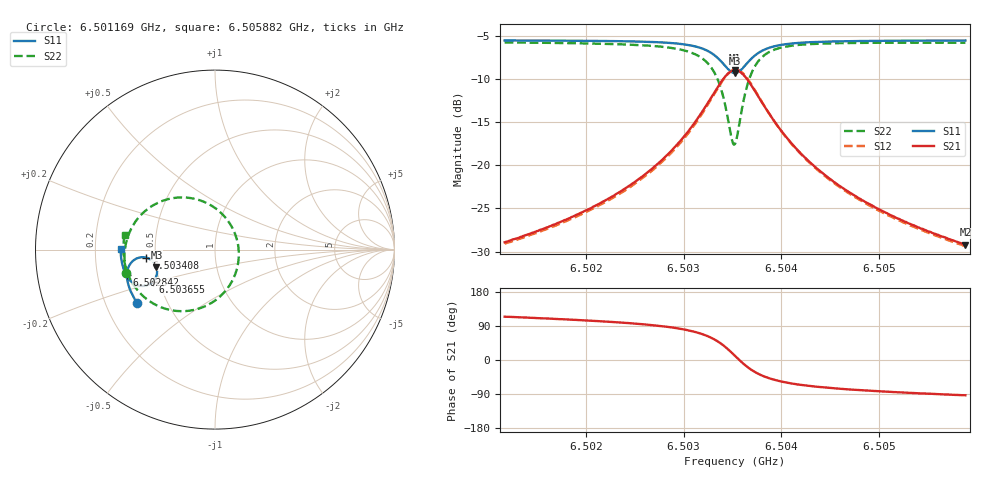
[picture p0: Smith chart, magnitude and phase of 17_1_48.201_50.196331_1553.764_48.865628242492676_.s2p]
#  HZ  S  RI  R  50.00
! Rohde & Schwarz Vector Network Analyzer
! Rohde-Schwarz,ZNB20-2Port,1311601062101988,3.16
! Created: UTC 3/20/2024, 11:36:47 AM
! freq[Hz]  re:S11  im:S11  re:S21  im:S21  re:S12  im:S12  re:S22  im:S22
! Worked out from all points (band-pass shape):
!   401 points, 6.501169 GHz to 6.505882 GHz, reference 50 ohm
!   highest |S21| = -9.02 dB at 6.503526 GHz (marker M1); lowest = -29.2 dB at 6.505882 GHz (marker M2)
!   |S21| within 3 dB of the highest: 6.503291 GHz to 6.503762 GHz (471.2 kHz wide, 0.00725 % of centre)
!   lowest |S11| = -9.4 dB at 6.503526 GHz (marker M3), VSWR 2.03, Z = 25 - j5.61 ohm
!   |S11| at or under -10 dB: nowhere
!   |S22| runs from -17.6 to -5.8 dB; largest |S21 - S12| = 0.013
!   S11 on the Smith chart (normalised r, x): 6.501169 GHz: 0.34, -0.27; 6.502842 GHz: 0.33, -0.12; 6.503408 GHz: 0.45, -0.05; 6.503655 GHz: 0.46, -0.20; 6.505882 GHz: 0.31, +0.00
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6.5011691e9  -0.436 -0.295  -0.0147 0.0326  -0.013 0.0326  -0.4951 -0.1331
6.5019585e9  -0.4685 -0.2347  -0.0138 0.0515  -0.0112 0.0509  -0.5045 -0.0451
6.5023827e9  -0.4828 -0.1956  -0.0104 0.0713  -0.00738 0.07  -0.4992 0.0187
6.502748e9  -0.4905 -0.1532  -0.000174 0.1034  0.00344 0.1006  -0.4761 0.0971
6.5028423e9  -0.4907 -0.1397  0.00577 0.1158  0.00952 0.1126  -0.4631 0.1238
6.5030426e9  -0.4849 -0.1051  0.0308 0.1524  0.0344 0.1476  -0.411 0.1947
6.503184e9  -0.4685 -0.0745  0.0726 0.1876  0.075 0.1815  -0.3303 0.2547
6.5033136e9  -0.4309 -0.0473  0.1528 0.214  0.1532 0.2076  -0.1842 0.2908
6.5034079e9  -0.3821 -0.045  0.2479 0.1964  0.2478 0.1918  -0.0192 0.2448
6.5034903e9  -0.3373 -0.0758  0.3295 0.1185  0.332 0.1142  0.1109 0.0902
6.5035257e9  -0.326 -0.0991  0.3477 0.0672  0.3517 0.0619  0.1324 -0.00583
6.5035493e9  -0.3227 -0.1162  0.3513 0.031  0.3555 0.0243  0.1295 -0.0723
6.5035846e9  -0.3249 -0.1416  0.3433 -0.0212  0.3472 -0.0305  0.1004 -0.1658
6.5036553e9  -0.3482 -0.1807  0.2942 -0.1011  0.2943 -0.1132  -0.0158 -0.2948
6.5037496e9  -0.3908 -0.2016  0.2119 -0.1459  0.2069 -0.1568  -0.1835 -0.3431
6.5038203e9  -0.4179 -0.2017  0.1621 -0.1512  0.1553 -0.1595  -0.2766 -0.3295
6.5039028e9  -0.442 -0.1944  0.1199 -0.1449  0.1124 -0.1506  -0.3509 -0.2964
6.5040677e9  -0.472 -0.1733  0.07 -0.1227  0.0632 -0.1252  -0.4316 -0.2263
6.5043152e9  -0.4951 -0.1419  0.0358 -0.0945  0.0307 -0.095  -0.4808 -0.1459
6.5046804e9  -0.5113 -0.1023  0.0154 -0.0687  0.0118 -0.0683  -0.5044 -0.0668
6.5051046e9  -0.5206 -0.062  0.00539 -0.0515  0.00302 -0.0508  -0.5106 -0.00298
6.5058823e9  -0.5262 0.0049  -0.00184 -0.0345  -0.00335 -0.0338  -0.5039 0.0833
